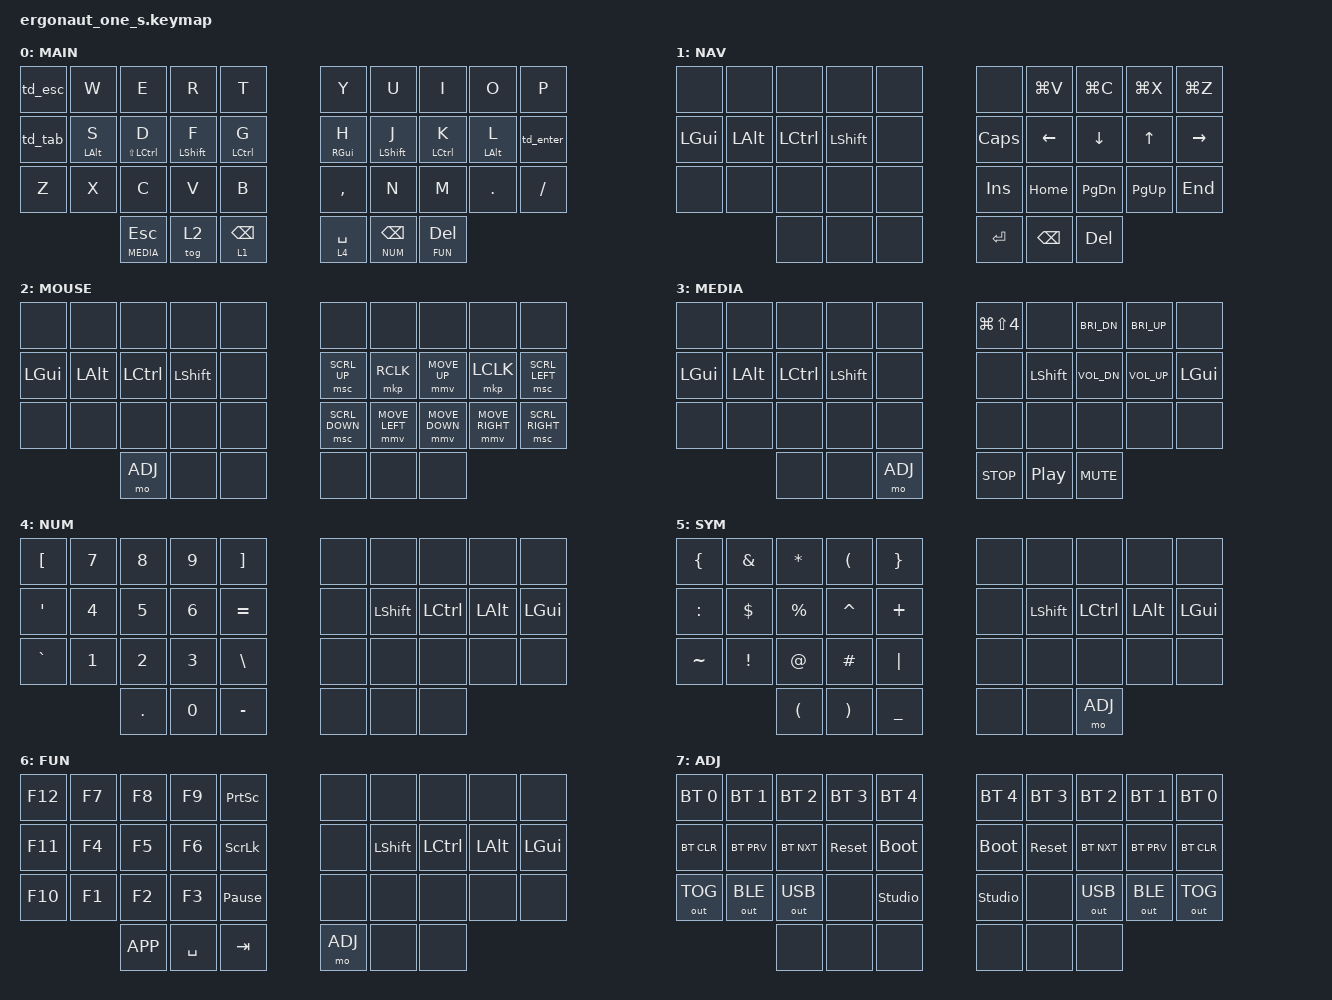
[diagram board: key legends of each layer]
#include <behaviors.dtsi>
#include <dt-bindings/zmk/bt.h>
#include <dt-bindings/zmk/keys.h>
#include <dt-bindings/zmk/outputs.h>
#include <dt-bindings/zmk/pointing.h>

#define BASE 0
#define NAV 1
#define MOUSE 2
#define MEDIA 3
#define NUM 4
#define SYM 5
#define FUN 6
#define ADJ 7

/ {
    behaviors {
        hm: homerow_mods {
            compatible = "zmk,behavior-hold-tap";
            label = "HOMEROW_MODS";
            #binding-cells = <2>;
            tapping-term-ms = <220>;
            quick_tap_ms = <0>;
            flavor = "balanced";
            bindings = <&kp>, <&kp>;
        };

        td_enter: td_enter {
            compatible = "zmk,behavior-tap-dance";
            label = "TD_ENTER";
            #binding-cells = <0>;
            bindings = <&kp APOS>, <&kp RETURN>;
        };

        td_tab: td_tab {
            compatible = "zmk,behavior-tap-dance";
            label = "TD_TAB";
            #binding-cells = <0>;
            bindings = <&kp A>, <&kp TAB>, <&kp CAPS>;
        };

        td_esc: td_esc {
            compatible = "zmk,behavior-tap-dance";
            label = "TD_ESC";
            #binding-cells = <0>;
            bindings = <&kp Q>, <&kp ESCAPE>;
        };
    };

    keymap {
        compatible = "zmk,keymap";

        default_layer {
            display-name = "MAIN";
            bindings = <
&td_esc  &kp W       &kp E            &kp R          &kp T        &kp Y            &kp U        &kp I         &kp O        &kp P
&td_tab  &hm LALT S  &hm LS(LCTRL) D  &hm LSHFT F    &hm LCTRL G  &hm RIGHT_GUI H  &hm LSHFT J  &hm LCTRL K   &hm LALT L   &td_enter
&kp Z    &kp X       &kp C            &kp V          &kp B        &kp COMMA        &kp N        &kp M         &kp DOT      &kp FSLH
                                      &lt MEDIA ESC  &tog 2       &lt 1 BACKSPACE  &lt 4 SPACE  &lt NUM BSPC  &lt FUN DEL
            >;
        };

        nav_layer {
            display-name = "NAV";
            bindings = <
&none     &none     &none      &none      &none  &none     &kp LG(V)  &kp LG(C)  &kp LG(X)  &kp LG(Z)
&kp LGUI  &kp LALT  &kp LCTRL  &kp LSHFT  &none  &kp CAPS  &kp LEFT   &kp DOWN   &kp UP     &kp RIGHT
&none     &none     &none      &none      &none  &kp INS   &kp HOME   &kp PG_DN  &kp PG_UP  &kp END
                               &none      &none  &none     &kp RET    &kp BSPC   &kp DEL
            >;
        };

        mouse_layer {
            display-name = "MOUSE";
            bindings = <
&none     &none     &none      &none      &none  &none           &none           &none           &none            &none
&kp LGUI  &kp LALT  &kp LCTRL  &kp LSHFT  &none  &msc SCRL_UP    &mkp RCLK       &mmv MOVE_UP    &mkp LCLK        &msc SCRL_LEFT
&none     &none     &none      &none      &none  &msc SCRL_DOWN  &mmv MOVE_LEFT  &mmv MOVE_DOWN  &mmv MOVE_RIGHT  &msc SCRL_RIGHT
                               &mo ADJ    &none  &none           &none           &none           &none
            >;
        };

        media_layer {
            display-name = "MEDIA";
            bindings = <
&none     &none     &none      &none      &none  &kp LG(LS(N4))  &none       &kp C_BRI_DN  &kp C_BRI_UP  &none
&kp LGUI  &kp LALT  &kp LCTRL  &kp LSHFT  &none  &none           &kp LSHFT   &kp C_VOL_DN  &kp C_VOL_UP  &kp LGUI
&none     &none     &none      &none      &none  &none           &none       &none         &none         &none
                               &none      &none  &mo ADJ         &kp C_STOP  &kp C_PP      &kp K_MUTE
            >;
        };

        num_layer {
            display-name = "NUM";
            bindings = <
&kp LBKT   &kp N7  &kp N8  &kp N9   &kp RBKT   &none      &none      &none      &none     &none
&kp SQT    &kp N4  &kp N5  &kp N6   &kp EQUAL  &none      &kp LSHFT  &kp LCTRL  &kp LALT  &kp LGUI
&kp GRAVE  &kp N1  &kp N2  &kp N3   &kp BSLH   &none      &none      &none      &none     &none
                           &kp DOT  &kp N0     &kp MINUS  &none      &none      &none
            >;
        };

        sym_layer {
            display-name = "SYM";
            bindings = <
&kp LBRC   &kp AMPS  &kp STAR   &kp LPAR   &kp RBRC  &none      &none      &none      &none     &none
&kp COLON  &kp DLLR  &kp PRCNT  &kp CARET  &kp PLUS  &none      &kp LSHFT  &kp LCTRL  &kp LALT  &kp LGUI
&kp TILDE  &kp EXCL  &kp AT     &kp HASH   &kp PIPE  &none      &none      &none      &none     &none
                                &kp LPAR   &kp RPAR  &kp UNDER  &none      &none      &mo ADJ
            >;
        };

        fun_layer {
            display-name = "FUN";
            bindings = <
&kp F12  &kp F7  &kp F8  &kp F9     &kp PSCRN        &none    &none      &none      &none     &none
&kp F11  &kp F4  &kp F5  &kp F6     &kp SLCK         &none    &kp LSHFT  &kp LCTRL  &kp LALT  &kp LGUI
&kp F10  &kp F1  &kp F2  &kp F3     &kp PAUSE_BREAK  &none    &none      &none      &none     &none
                         &kp K_APP  &kp SPACE        &kp TAB  &mo ADJ    &none      &none
            >;
        };

        adj_layer {
            display-name = "ADJ";
            bindings = <
&bt BT_SEL 0  &bt BT_SEL 1  &bt BT_SEL 2  &bt BT_SEL 3  &bt BT_SEL 4    &bt BT_SEL 4    &bt BT_SEL 3  &bt BT_SEL 2  &bt BT_SEL 1  &bt BT_SEL 0
&bt BT_CLR    &bt BT_PRV    &bt BT_NXT    &sys_reset    &bootloader     &bootloader     &sys_reset    &bt BT_NXT    &bt BT_PRV    &bt BT_CLR
&out OUT_TOG  &out OUT_BLE  &out OUT_USB  &none         &studio_unlock  &studio_unlock  &none         &out OUT_USB  &out OUT_BLE  &out OUT_TOG
                                          &none         &none           &none           &none         &none         &none
            >;
        };
    };
};
